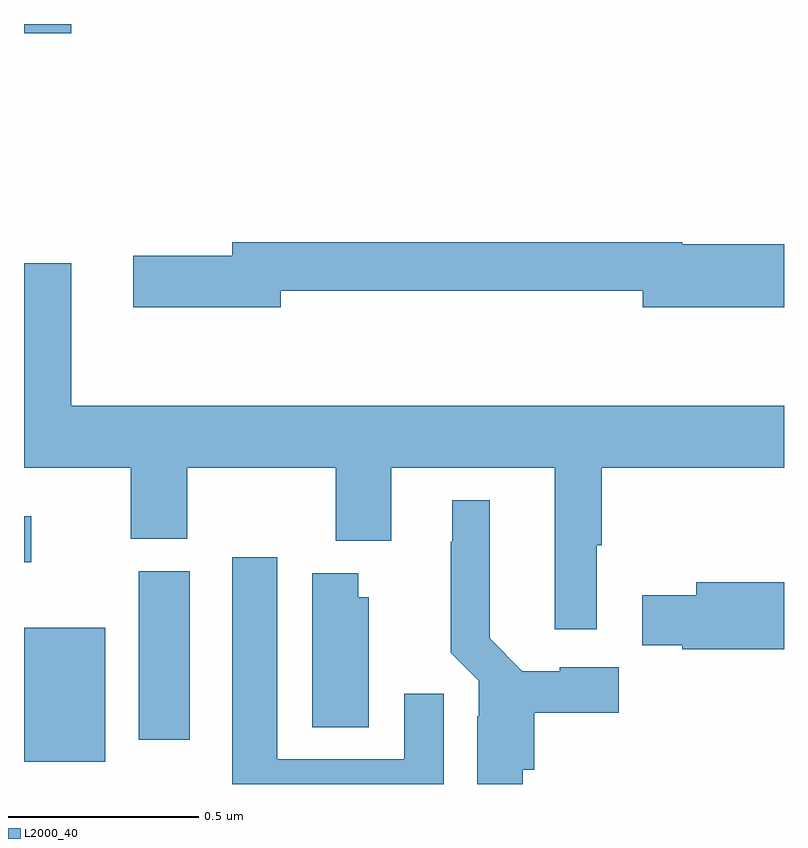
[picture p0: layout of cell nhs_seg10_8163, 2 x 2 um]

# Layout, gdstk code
import gdstk
lib = gdstk.Library(unit=1e-6, precision=1e-09)
def R(c, l, rs):  # rectangles x0, y0, x1, y1
    for r in rs: c.add(gdstk.rectangle(r[:2], r[2:], *l))
def P(c, l, *ps):  # polygons
    for p in ps: c.add(gdstk.Polygon(p, *l))
L2000_40 = (2000, 40)

nhs_seg10_8163 = lib.new_cell('nhs_seg10_8163')
R(nhs_seg10_8163, L2000_40, [(213,1283.558,213.214,1283.911), (213.302,1283.616,213.436,1284.06), (213,1284.083,213.019,1284.205), (213,1285.476,213.124,1285.5)])
P(nhs_seg10_8163, L2000_40, [(213.676,1284.798),(214.628,1284.798),(214.628,1284.755),(215,1284.755),(215,1284.92),(214.732,1284.92),(214.732,1284.926),(213.548,1284.926),(213.548,1284.89),(213.288,1284.89),(213.288,1284.755),(213.676,1284.755)],
  [(214.507,1284.128),(214.52,1284.128),(214.52,1284.332),(215,1284.332),(215,1284.496),(213.124,1284.496),(213.124,1284.871),(213,1284.871),(213,1284.332),(213.281,1284.332),(213.281,1284.145),(213.429,1284.145),(213.429,1284.332),(213.82,1284.332),(213.82,1284.14),(213.967,1284.14),(213.967,1284.332),(214.397,1284.332),(214.397,1283.907),(214.507,1283.907)],
  [(214.312,1283.538),(214.343,1283.538),(214.343,1283.687),(214.565,1283.687),(214.565,1283.807),(214.41,1283.807),(214.41,1283.797),(214.311,1283.797),(214.225,1283.884),(214.225,1284.247),(214.127,1284.247),(214.127,1284.137),(214.123,1284.137),(214.123,1283.846),(214.197,1283.772),(214.197,1283.678),(214.193,1283.678),(214.193,1283.5),(214.312,1283.5)],
  [(214.105,1283.737),(214.001,1283.737),(214.001,1283.565),(213.667,1283.565),(213.667,1284.097),(213.548,1284.097),(213.548,1283.5),(214.105,1283.5)],
  [(213.907,1283.991),(213.88,1283.991),(213.88,1284.055),(213.758,1284.055),(213.758,1283.65),(213.907,1283.65)],
  [(215,1284.031),(214.769,1284.031),(214.769,1283.997),(214.627,1283.997),(214.627,1283.865),(214.732,1283.865),(214.732,1283.855),(215,1283.855)])

lib.write_gds('nhs_seg10_8163.gds')
